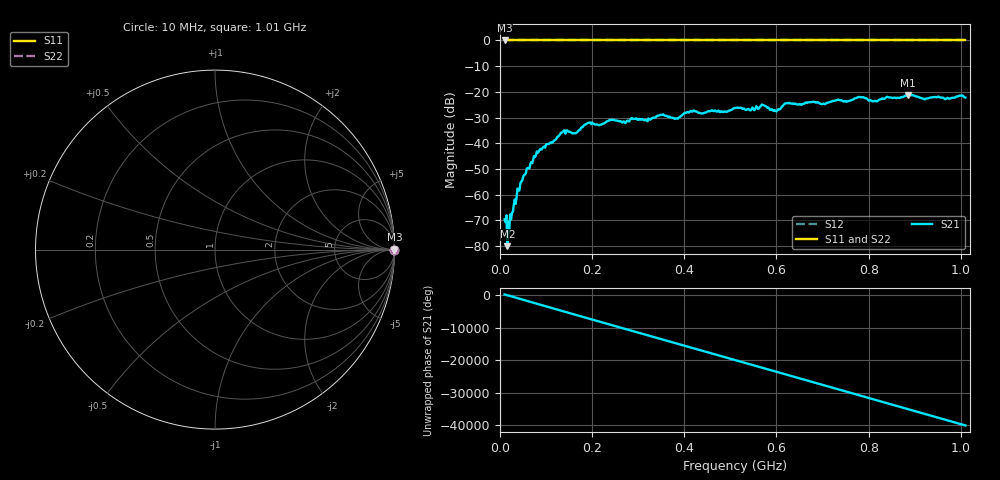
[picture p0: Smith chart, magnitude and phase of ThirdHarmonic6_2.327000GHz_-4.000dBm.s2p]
! 8/17/2025 3:20:27 AM
! C:\ANRITSUVNA\TEMP\TEMP.S2P
! CHANNEL.1
! TR.MEASUREMENT
! RAW.DATA
! RF.CORRECTION.OFF
! AVERAGING.OFF
! IF.BANDWIDTH: 5KHZ
! SWEEPTYPE:  FREQ.SWEEP(Linear)
! Reference Plane Port Info
! PORT:  PORT1  PORT2
! DISTANCE:  0  m  0  m
! TIME:  0  s  0  s
! PHASE.OFFSET:  0  deg.  0  deg.
! LOSS:  0  dB  0  dB
! REF.LOSS:  0  dB  0  dB
! REF.FREQ:  0  Hz  0  Hz
! Power Info
! POWER:  -20  dBm  -20  dBm
! EFF.POWER:  -20  dBm  -20  dBm
! SOURCE.ATTEN:  0  dB  0  dB
! TEST.ATTEN:  0  dB  0  dB
# GHZ S RI R 50.0
! FREQ.GHZ  S11RE  S11IM  S21RE  S21IM  S12RE  S12IM  S22RE  S22IM
!; PortSelection: Port_12
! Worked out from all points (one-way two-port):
!   501 points, 10 MHz to 1.01 GHz, reference 50 ohm
!   highest |S21| = -21.17 dB at 886 MHz (marker M1); lowest = -80.1 dB at 16 MHz (marker M2)
!   lowest |S11| = 0.0 dB at 10 MHz (marker M3)
!   |S11| at or under -10 dB: nowhere
!   |S22| runs from 0.0 to 0.0 dB; largest |S21 - S12| = 1.1
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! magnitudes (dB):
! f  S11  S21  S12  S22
! 10 MHz  0.0  -69.6  0.0  0.0
! 16 MHz  0.0  -80.1  0.0  0.0
! 20 MHz  0.0  -74.7  0.0  0.0
! 34 MHz  0.0  -63.6  0.0  0.0
! 48 MHz  0.0  -54.7  0.0  0.0
! 78 MHz  0.0  -44.7  0.0  0.0
! 136 MHz  0.0  -35.6  0.0  0.0
! 162 MHz  0.0  -36.1  0.0  0.0
! 178 MHz  0.0  -33.7  0.0  0.0
! 192 MHz  0.0  -32.1  0.0  0.0
! 316 MHz  0.0  -30.8  0.0  0.0
! 344 MHz  0.0  -29.3  0.0  0.0
! 382 MHz  0.0  -30.3  0.0  0.0
! 418 MHz  0.0  -27.7  0.0  0.0
! 510 MHz  0.0  -26.3  0.0  0.0
! 572 MHz  0.0  -25.3  0.0  0.0
! 598 MHz  0.0  -27.3  0.0  0.0
! 622 MHz  0.0  -24.4  0.0  0.0
! 678 MHz  0.0  -23.9  0.0  0.0
! 844 MHz  0.0  -22.2  0.0  0.0
! 886 MHz  0.0  -21.2  0.0  0.0
! 1.01 GHz  0.0  -22.2  0.0  0.0
